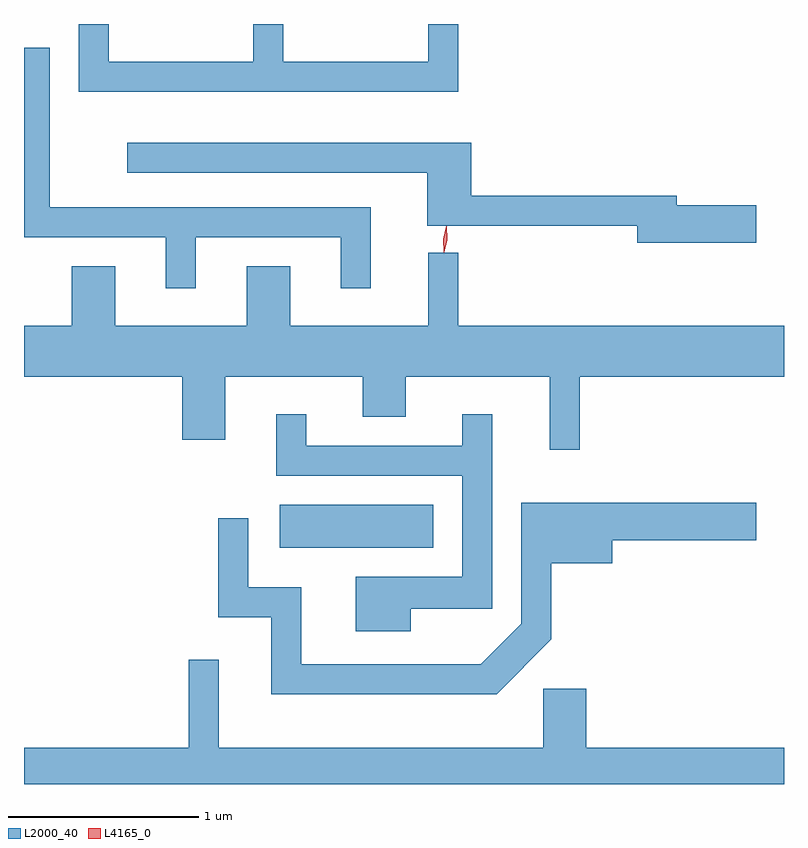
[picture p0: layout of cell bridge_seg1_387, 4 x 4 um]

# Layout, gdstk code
import gdstk
lib = gdstk.Library(unit=1e-6, precision=1e-09)
def R(c, l, rs):  # rectangles x0, y0, x1, y1
    for r in rs: c.add(gdstk.rectangle(r[:2], r[2:], *l))
def P(c, l, *ps):  # polygons
    for p in ps: c.add(gdstk.Polygon(p, *l))
L2000_40 = (2000, 40)
L4165_0 = (4165, 0)

bridge_seg1_387 = lib.new_cell('bridge_seg1_387')
R(bridge_seg1_387, L2000_40, [(500.136,947.516,500.944,947.744)])
P(bridge_seg1_387, L2000_40, [(501.074,950.273),(500.916,950.273),(500.916,950.074),(500.154,950.074),(500.154,950.273),(499.996,950.273),(499.996,950.074),(499.234,950.074),(499.234,950.273),(499.076,950.273),(499.076,949.916),(501.074,949.916)],
  [(499.694,949.151),(500.456,949.151),(500.456,948.883),(500.614,948.883),(500.614,949.309),(498.924,949.309),(498.924,950.149),(498.789,950.149),(498.789,949.151),(499.536,949.151),(499.536,948.883),(499.694,948.883)],
  [(502.644,949.319),(502.224,949.319),(502.224,949.369),(501.144,949.369),(501.144,949.649),(499.333,949.649),(499.333,949.491),(500.911,949.491),(500.911,949.211),(502.016,949.211),(502.016,949.121),(502.644,949.121)],
  [(501.714,948.416),(502.789,948.416),(502.789,948.684),(501.074,948.684),(501.074,949.068),(500.916,949.068),(500.916,948.684),(500.189,948.684),(500.189,948.999),(499.961,948.999),(499.961,948.684),(499.269,948.684),(499.269,948.999),(499.041,948.999),(499.041,948.684),(498.789,948.684),(498.789,948.416),(499.621,948.416),(499.621,948.086),(499.849,948.086),(499.849,948.416),(500.571,948.416),(500.571,948.206),(500.799,948.206),(500.799,948.416),(501.556,948.416),(501.556,948.033),(501.714,948.033)],
  [(500.824,947.196),(501.254,947.196),(501.254,948.218),(501.096,948.218),(501.096,948.054),(500.274,948.054),(500.274,948.218),(500.116,948.218),(500.116,947.896),(501.096,947.896),(501.096,947.364),(500.536,947.364),(500.536,947.076),(500.824,947.076)],
  [(501.564,947.034),(501.564,947.436),(501.884,947.436),(501.884,947.556),(502.644,947.556),(502.644,947.754),(501.406,947.754),(501.406,947.117),(501.194,946.904),(500.249,946.904),(500.249,947.309),(499.969,947.309),(499.969,947.673),(499.811,947.673),(499.811,947.151),(500.091,947.151),(500.091,946.746),(501.277,946.746)],
  [(502.789,946.464),(501.749,946.464),(501.749,946.774),(501.521,946.774),(501.521,946.464),(499.814,946.464),(499.814,946.928),(499.656,946.928),(499.656,946.464),(498.789,946.464),(498.789,946.273),(502.789,946.273)])
P(bridge_seg1_387, L4165_0, [(501,949.07),(500.999,949.071),(500.996,949.14),(501.012,949.208),(501.013,949.208),(501.013,949.208),(501.016,949.138),(501,949.071)])

lib.write_gds('bridge_seg1_387.gds')
